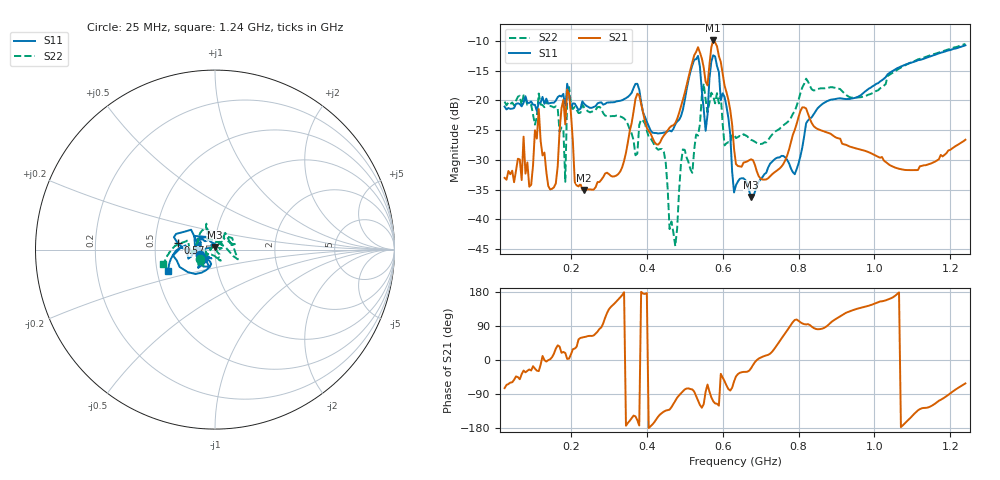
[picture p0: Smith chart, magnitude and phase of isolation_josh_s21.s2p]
!Created with skrf (http://scikit-rf.org).
# Hz S RI R 50.0
!freq ReS11 ImS11 ReS21 ImS21 ReS12 ImS12 ReS22 ImS22
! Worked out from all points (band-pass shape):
!   244 points, 25 MHz to 1.24 GHz, reference 50 ohm
!   highest |S21| = -9.93 dB at 575 MHz (marker M1); lowest = -35.1 dB at 235 MHz (marker M2)
!   |S21| within 3 dB of the highest: 522.8 MHz to 545 MHz (22.19 MHz wide, 4.16 % of centre); 566.9 MHz to 591.9 MHz (24.98 MHz wide, 4.31 % of centre)
!   lowest |S11| = -36.3 dB at 675 MHz (marker M3), VSWR 1.03, Z = 49.9 + j1.53 ohm
!   |S11| at or under -10 dB: start of sweep to end of sweep
!   |S22| runs from -44.5 to -10.5 dB; largest |S21 - S12| = 0.32
!   S11 on the Smith chart (normalised r, x): 25 MHz: 0.84, -0.05; 570 MHz: 0.65, +0.05; 1.24 GHz: 0.57, -0.15
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2.5e7  -0.0833 -0.0299  0.00607 -0.0215  0 0  -0.0812 -0.0542
9.5e7  -0.0978 0.000861  0.0172 -0.00904  0 0  -0.0903 -0.018
1.15e8  -0.0953 0.00557  0.0737 -0.0414  0 0  -0.0817 -0.0797
1.4e8  -0.0928 -0.0145  0.0191 -0.000203  0 0  -0.0838 -0.0327
1.65e8  -0.1057 -0.0123  0.0217 0.0174  0 0  -0.08 -0.0309
1.85e8  -0.0452 0.0704  0.0595 0.0199  0 0  -0.0172 0.0114
1.9e8  -0.1148 0.0763  0.1231 0.00618  0 0  -0.0905 -0.0507
2.3e8  -0.0908 -0.037  0.00903 0.0152  0 0  -0.0761 -0.0511
2.35e8  -0.087 -0.0338  0.0088 0.0153  0 0  -0.0728 -0.0473
3.75e8  -0.095 -0.0998  -0.1062 -0.0408  0 0  -0.00144 -0.0356
4.3e8  -0.0218 -0.0479  -0.0365 -0.0218  0 0  0.019 -0.0334
4.75e8  -0.0434 -0.0453  -0.0192 -0.0613  0 0  0.0055 0.00225
4.95e8  -0.0213 -0.0804  0.0129 -0.1002  0 0  0.0379 0.00784
5.35e8  -0.2338 -0.0334  -0.0824 -0.2673  0 0  0.0463 0.0202
5.55e8  -0.0317 -0.0456  0.0148 -0.1428  0 0  0.0967 0.031
5.7e8  -0.208 0.0361  -0.0402 -0.2757  0 0  0.0965 0.0642
5.75e8  -0.229 0.0693  -0.1025 -0.3018  0 0  0.1033 0.0359
6.35e8  0.00345 0.019  0.0212 -0.0201  0 0  0.026 0.0405
6.75e8  -0.000623 0.0154  0.0297 -0.0117  0 0  0.0223 0.0408
8.35e8  -0.0549 0.0469  0.00234 0.0642  0 0  -0.0468 0.1145
1.04e9  -0.1688 0.021  -0.0271 0.00926  0 0  -0.1567 0.0488
1.24e9  -0.264 -0.1206  0.022 -0.0411  0 0  -0.2876 -0.079
